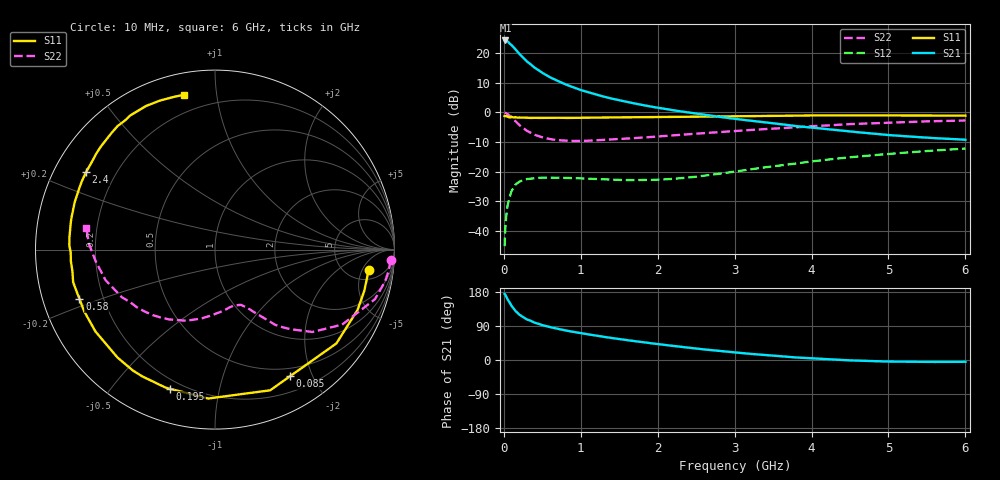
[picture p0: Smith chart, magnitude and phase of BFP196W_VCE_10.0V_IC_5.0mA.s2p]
! Infineon Technologies  Discrete & RF Semiconductors
! BFP196W
! VCE = 10.0V,  IC = 5.0mA
! Common Emitter S-Parameters:  Jan 2016
# GHz  S  MA  R  50
!  f  S11  S21  S12  S22
! GHz  MAG  ANG  MAG  ANG  MAG  ANG  MAG  ANG
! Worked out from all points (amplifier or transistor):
!   210 points, 10 MHz to 6 GHz, reference 50 ohm
!   highest |S21| = 24.2 dB at 20 MHz (marker M1)
!   |S21| within 3 dB of that: start of sweep to 152.2 MHz
!   unconditionally stable (mu >= 1): 1.479 GHz to 3.356 GHz
!   at 185 MHz: K = 0.14, MSG = 21.9 dB, |S12| = -23.7 dB
!   at 1.52 GHz: K = 1.03, MAG = 12.3 dB, |S12| = -22.8 dB
!   at 6 GHz: K = 0.96, MSG = 1.5 dB, |S12| = -12.2 dB
!   S11 on the Smith chart (normalised r, x): 10 MHz: 8, -7; 85 MHz: 0.39, -1.69; 195 MHz: 0.16, -0.72; 580 MHz: 0.11, -0.17; 2.4 GHz: 0.09, +0.27; 6 GHz: 0.11, +0.81
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0.01  0.8636 -7.6  15.9 174.2  0.0056 82.3  0.981 -3.5
0.02  0.8629 -15.4  16.13 171.7  0.0116 81.2  0.9742 -7.1
0.03  0.8625 -22.9  15.94 167.8  0.0171 78.3  0.9645 -10.5
0.05  0.8549 -37.7  15.49 159.5  0.0277 70.4  0.933 -17.2
0.085  0.8201 -59.4  13.96 148.2  0.0412 58.2  0.8502 -26.2
0.1  0.842 -68.6  13.49 142.6  0.0473 55.1  0.8221 -30.6
0.15  0.8306 -92.6  11.5 129.5  0.0605 44.4  0.7097 -40.3
0.195  0.8149 -107.9  9.827 121.0  0.0669 37.2  0.622 -45.7
0.24  0.8143 -119.8  8.556 114.6  0.0716 31.7  0.5585 -50.0
0.3  0.8104 -132.1  7.164 107.1  0.0753 26.4  0.487 -53.5
0.4  0.8073 -145.6  5.626 98.5  0.0781 21.0  0.4179 -57.6
0.5  0.8059 -154.8  4.607 92.0  0.0796 17.7  0.3769 -60.4
0.58  0.8039 -160.0  4.02 87.9  0.0796 16.0  0.358 -62.4
0.8  0.8034 -171.5  2.945 78.1  0.079 13.5  0.3333 -67.8
1.02  0.8056 -179.4  2.324 70.3  0.077 13.5  0.3301 -73.9
1.4  0.8168 170.1  1.7 58.1  0.0738 16.5  0.3485 -84.7
2.02  0.8291 156.4  1.18 41.6  0.0737 28.9  0.3937 -102.1
2.4  0.8382 149.1  0.989 32.4  0.0797 37.2  0.4283 -112.3
3.1  0.8586 136.5  0.749 18.2  0.1049 47.0  0.4926 -130.9
4.1  0.8839 121.0  0.537 3.4  0.1542 47.3  0.5907 -155.3
5.1  0.884 109.3  0.406 -4.3  0.204 40.5  0.6744 -176.2
6  0.8795 101.4  0.345 -4.7  0.2455 33.4  0.7268 170.4
